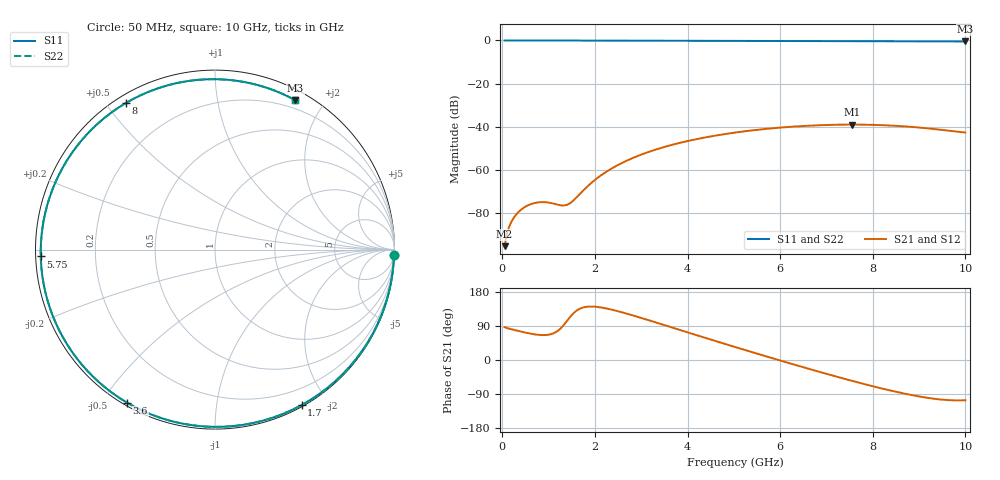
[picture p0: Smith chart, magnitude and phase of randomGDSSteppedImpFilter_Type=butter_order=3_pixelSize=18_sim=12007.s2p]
! freq	dB(S11)	phase(S11)	dB(S12)	phase(S12)
!  dB(S21)	phase(S21)	dB(S22)	phase(S22)
!S-par simulation data
#  GHz  S  DB  R 50
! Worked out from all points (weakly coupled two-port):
!   200 points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, 50 MHz to 10 GHz, reference 50 ohm
!   highest |S21| = -39.07 dB at 7.55 GHz (marker M1); lowest = -95.5 dB at 50 MHz (marker M2)
!   lowest |S11| = -0.5 dB at 10 GHz (marker M3), VSWR 35.31, Z = 5.36 + j83.3 ohm
!   |S11| at or under -10 dB: nowhere
!   |S22| runs from -0.5 to 0.0 dB; largest |S21 - S12| = 0
!   S11 on the Smith chart (normalised r, x): 50 MHz: 5, -61; 1.7 GHz: 0.02, -1.70; 3.6 GHz: 0.01, -0.58; 5.75 GHz: 0.01, -0.02; 8 GHz: 0.03, +0.56; 10 GHz: 0.11, +1.67
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0.05  -0.02 -1.9  -95.50 86.6  -95.50 86.6  -0.02 -1.9
0.3  -0.02 -11.1  -80.82 78.0  -80.82 78.0  -0.02 -11.1
0.55  -0.03 -20.3  -76.61 70.9  -76.61 70.9  -0.03 -20.3
0.8  -0.04 -29.4  -75.12 66.2  -75.12 66.2  -0.04 -29.4
1.35  -0.06 -48.9  -76.58 95.8  -76.58 95.8  -0.06 -48.9
1.5  -0.07 -54.1  -74.96 118.7  -74.96 118.7  -0.07 -54.1
1.7  -0.08 -60.9  -70.71 136.7  -70.71 136.7  -0.08 -60.9
1.75  -0.08 -62.6  -69.62 138.7  -69.62 138.7  -0.08 -62.6
2.1  -0.09 -74.2  -63.12 139.3  -63.12 139.3  -0.09 -74.2
2.45  -0.10 -85.4  -58.38 130.2  -58.38 130.2  -0.10 -85.4
2.9  -0.12 -99.3  -53.84 114.7  -53.84 114.7  -0.12 -99.3
3.4  -0.14 -114.1  -50.09 95.9  -50.09 95.9  -0.14 -114.1
3.6  -0.14 -119.8  -48.85 88.3  -48.85 88.3  -0.14 -119.8
4.35  -0.18 -140.6  -45.16 59.6  -45.16 59.6  -0.18 -140.7
5.05  -0.21 -159.4  -42.70 33.4  -42.70 33.4  -0.21 -159.4
5.75  -0.25 -177.8  -40.95 7.7  -40.95 7.7  -0.25 -177.8
6.7  -0.31 157.2  -39.50 -26.2  -39.50 -26.2  -0.31 157.2
7.55  -0.36 134.0  -39.07 -55.0  -39.07 -55.0  -0.36 134.0
8  -0.39 121.4  -39.20 -69.3  -39.20 -69.3  -0.39 121.4
8.35  -0.41 111.3  -39.47 -79.7  -39.47 -79.7  -0.41 111.3
9.2  -0.46 86.1  -40.85 -100.2  -40.85 -100.2  -0.46 86.1
10  -0.49 61.8  -42.76 -106.1  -42.76 -106.1  -0.49 61.8
